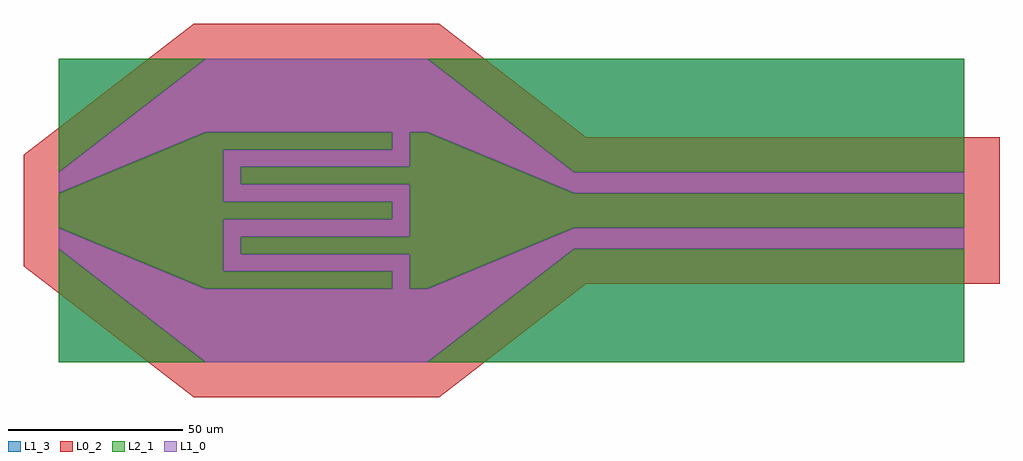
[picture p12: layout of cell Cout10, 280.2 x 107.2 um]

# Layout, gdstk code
import gdstk
lib = gdstk.Library(unit=1e-6, precision=1e-09)
def R(c, l, rs):  # rectangles x0, y0, x1, y1
    for r in rs: c.add(gdstk.rectangle(r[:2], r[2:], *l))
def P(c, l, *ps):  # polygons
    for p in ps: c.add(gdstk.Polygon(p, *l))
L0_2 = (0, 2)
L1_0 = (1, 0)
L1_3 = (1, 3)
L2_1 = (2, 1)

cout10 = lib.new_cell('Cout10')
P(cout10, L0_2, [(-91.198,-53.6),(-140.1,-15.972),(-140.1,15.972),(-91.198,53.6),(-20.736,53.6),(21.502,21.1),(140.1,21.1),(140.1,-21.1),(21.502,-21.1),(-20.736,-53.6)])
P(cout10, L1_0, [(-87.762,-43.5),(-130,-11),(-130,-5),(-87.717,-22.5),(-34.217,-22.5),(-34.217,-17.5),(-82.717,-17.5),(-82.717,-2.5),(-34.217,-2.5),(-34.217,2.5),(-82.717,2.5),(-82.717,17.5),(-34.217,17.5),(-34.217,22.5),(-87.717,22.5),(-130,5),(-130,11),(-87.762,43.5),(-24.172,43.5),(18.066,11),(130,11),(130,5),(18.066,5),(-24.217,22.5),(-29.217,22.5),(-29.217,12.5),(-77.717,12.5),(-77.717,7.5),(-29.217,7.5),(-29.217,-7.5),(-77.717,-7.5),(-77.717,-12.5),(-29.217,-12.5),(-29.217,-22.5),(-24.217,-22.5),(18.066,-5),(130,-5),(130,-11),(18.066,-11),(-24.172,-43.5)])
R(cout10, L1_3, [(-130,-43.5,130,43.5)])
P(cout10, L2_1, [(-130,11),(-130,43.5),(-87.762,43.5)],
  [(-130,-43.5),(-130,-11),(-87.762,-43.5)],
  [(-87.717,-22.5),(-130,-5),(-130,5),(-87.717,22.5),(-34.217,22.5),(-34.217,17.5),(-82.717,17.5),(-82.717,2.5),(-34.217,2.5),(-34.217,-2.5),(-82.717,-2.5),(-82.717,-17.5),(-34.217,-17.5),(-34.217,-22.5)],
  [(-29.217,-22.5),(-29.217,-12.5),(-77.717,-12.5),(-77.717,-7.5),(-29.217,-7.5),(-29.217,7.5),(-77.717,7.5),(-77.717,12.5),(-29.217,12.5),(-29.217,22.5),(-24.217,22.5),(18.066,5),(130,5),(130,-5),(18.066,-5),(-24.217,-22.5)],
  [(-24.172,-43.5),(18.066,-11),(130,-11),(130,-43.5)],
  [(18.066,11),(-24.172,43.5),(130,43.5),(130,11)])

lib.write_gds('Cout10.gds')
